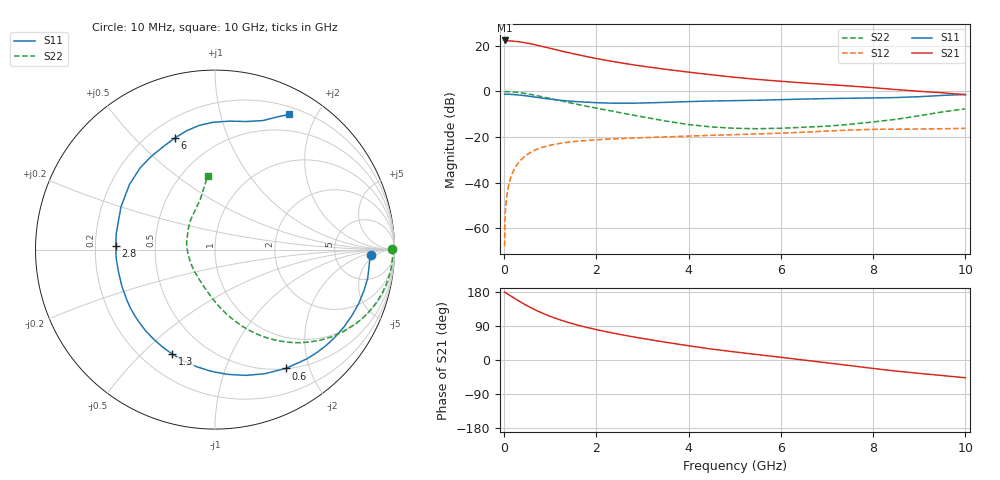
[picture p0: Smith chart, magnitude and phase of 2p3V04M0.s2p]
! (c) 2009  Infineon Technologies AG, Munich
! Infineon Technologies  Discrete & RF Semiconductors
! BFP420
! VCE =  3.0 V,  IC =  4.0 mA
! Common Emitter S-Parameters:  Nov 2009
# GHz  S  MA  R  50
!  f  S11  S21  S12  S22
! GHz  MAG  ANG  MAG  ANG  MAG  ANG  MAG  ANG
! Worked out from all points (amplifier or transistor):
!   46 points, 10 MHz to 10 GHz, reference 50 ohm
!   highest |S21| = 22.4 dB at 10 MHz (marker M1)
!   |S21| within 3 dB of that: start of sweep to 905.9 MHz
!   unconditionally stable (mu >= 1): start of sweep to 10.21 MHz; 3.248 GHz to end of sweep
!   at 300 MHz: K = 0.08, MSG = 26.7 dB, |S12| = -31.6 dB
!   at 1.7 GHz: K = 0.52, MSG = 18.7 dB, |S12| = -21.7 dB
!   at 10 GHz: K = 1.14, MAG = 5.1 dB, |S12| = -16.2 dB
!   lowest NFmin = 0.61 dB at 900 MHz
!   S11 on the Smith chart (normalised r, x): 10 MHz: 13, -3; 600 MHz: 0.50, -1.64; 1.3 GHz: 0.32, -0.62; 2.8 GHz: 0.29, +0.02; 6 GHz: 0.30, +0.66; 10 GHz: 0.29, +1.65
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0.01  0.8679 -1.9  13.18 179.2  0.0004 48.4  0.9889 0.2
0.02  0.8667 -2.2  12.85 178.5  0.0019 86.3  0.9901 -1.1
0.05  0.8635 -5.0  12.88 175.9  0.0046 84.1  0.9899 -2.9
0.15  0.8607 -15.5  12.82 168.3  0.0136 81.3  0.9811 -8.8
0.25  0.8467 -25.7  12.54 160.7  0.0223 76.2  0.9632 -14.5
0.35  0.8283 -35.8  12.21 153.5  0.0304 71.1  0.937 -20.0
0.45  0.8066 -45.4  11.76 146.5  0.0378 66.2  0.9051 -25.2
0.6  0.7703 -59.3  10.99 136.7  0.0476 59.6  0.8502 -32.4
0.7  0.7452 -68.1  10.45 130.7  0.0532 55.6  0.8114 -36.8
0.9  0.6988 -84.2  9.359 119.9  0.0622 48.7  0.7348 -44.5
1.1  0.6605 -98.8  8.364 110.7  0.0692 43.2  0.6639 -51.1
1.3  0.6291 -112.2  7.486 102.5  0.0747 38.6  0.5996 -56.9
1.7  0.5869 -135.1  6.097 88.8  0.0824 31.6  0.4936 -66.5
2.2  0.5576 -158.5  4.853 75.0  0.0892 25.4  0.3937 -76.5
2.8  0.553 177.7  3.844 61.1  0.0948 20.1  0.3015 -88.2
3.5  0.5756 155.6  3.063 46.9  0.1004 15.6  0.2241 -104.1
4.5  0.6176 132.5  2.321 28.9  0.1087 10.3  0.1661 -134.6
5.5  0.6414 117.0  1.837 14.1  0.1166 6.0  0.1519 -165.4
6  0.6604 109.9  1.671 7.1  0.1213 4.1  0.1556 178.9
7  0.6974 97.3  1.422 -7.5  0.1346 -1.0  0.1726 153.1
8.5  0.7348 76.2  1.099 -29.2  0.1487 -13.4  0.2447 116.9
10  0.8591 61.2  0.848 -46.9  0.1549 -21.6  0.4146 95.7
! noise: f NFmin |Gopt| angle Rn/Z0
0.9  0.61  0.27  32  0.16
1.8  1.03  0.14  83  0.13
2.4  1.11  0.17  110  0.14
3  1.23  0.2  153  0.11
4  1.42  0.31  -151  0.11
5  1.77  0.38  -123  0.23
6  2.35  0.47  -104  0.33
